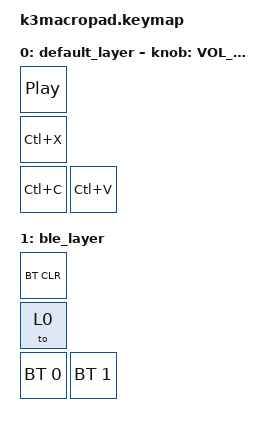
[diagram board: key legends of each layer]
/*
 * Copyright (c) 2020 The ZMK Contributors
 *
 * SPDX-License-Identifier: MIT
 */
 #include <behaviors.dtsi>
#include <dt-bindings/zmk/keys.h>
#include <dt-bindings/zmk/bt.h>

/ {
	combos {
        compatible = "zmk,combos";
        combo_esc {
            timeout-ms = <50>;
            key-positions = <2 3>;
            bindings = <&to 1>;
        };
    };

    keymap {
        compatible = "zmk,keymap";
        default_layer {
            bindings = <
			 	&kp C_PLAY_PAUSE
			 	&kp LC(X)
			 	&kp LC(C) &kp LC(V)
            >;

            sensor-bindings = <&inc_dec_kp C_VOL_UP C_VOL_DN>;
        };
		ble_layer {
            bindings = <
			    &bt BT_CLR
			 	&to 0
			 	&bt BT_SEL 0 &bt BT_SEL 1
            >;
        };
    };
};
